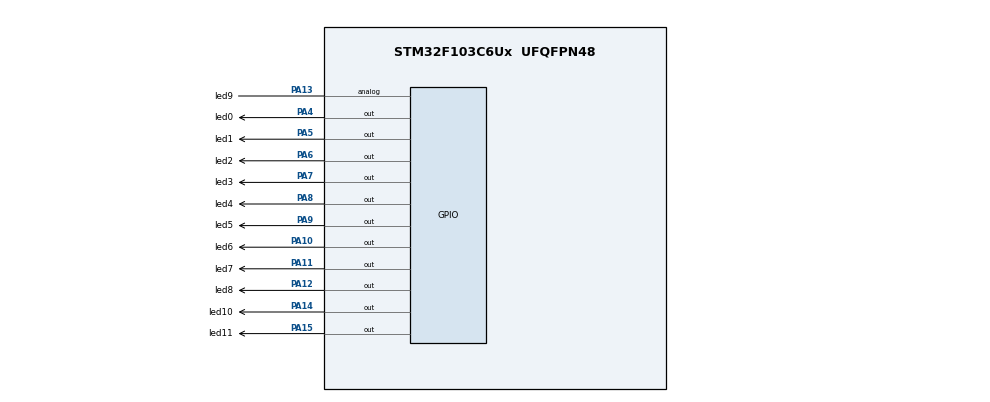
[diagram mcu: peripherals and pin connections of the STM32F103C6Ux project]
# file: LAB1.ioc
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Mcu.Family=STM32F1
Mcu.Name=STM32F103C6Ux
Mcu.Package=UFQFPN48
NVIC.PriorityGroup=NVIC_PRIORITYGROUP_4
PA10.GPIO_Label=led6
PA10.Signal=GPIO_Output
PA11.GPIO_Label=led7
PA11.Signal=GPIO_Output
PA12.GPIO_Label=led8
PA12.Signal=GPIO_Output
PA13.GPIO_Label=led9
PA13.Signal=GPIO_Analog
PA14.GPIO_Label=led10
PA14.Signal=GPIO_Output
PA15.GPIO_Label=led11
PA15.Signal=GPIO_Output
PA4.GPIO_Label=led0
PA4.Signal=GPIO_Output
PA5.GPIO_Label=led1
PA5.Signal=GPIO_Output
PA6.GPIO_Label=led2
PA6.Signal=GPIO_Output
PA7.GPIO_Label=led3
PA7.Signal=GPIO_Output
PA8.GPIO_Label=led4
PA8.Signal=GPIO_Output
PA9.GPIO_Label=led5
PA9.Signal=GPIO_Output
ProjectManager.HeapSize=0x200
ProjectManager.StackSize=0x400
ProjectManager.TargetToolchain=STM32CubeIDE
RCC.APB1Freq_Value=8000000
RCC.APB2Freq_Value=8000000
VP_SYS_VS_ND.Mode=No_Debug
board=custom

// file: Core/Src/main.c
/* USER CODE BEGIN Header */
/**
  ******************************************************************************
  * @file           : main.c
  * @brief          : Main program body
  ******************************************************************************
  * @attention
  *
  * <h2><center>&copy; Copyright (c) 2024 STMicroelectronics.
  * All rights reserved.</center></h2>
  *
  * This software component is licensed by ST under BSD 3-Clause license,
  * the "License"; You may not use this file except in compliance with the
  * License. You may obtain a copy of the License at:
  *                        opensource.org/licenses/BSD-3-Clause
  *
  ******************************************************************************
  */
/* USER CODE END Header */
#include "main.h"

void SystemClock_Config(void);
static void MX_GPIO_Init(void);

/* USER CODE BEGIN 0 */
void clearAllClock();
void setNumberOnClock(int num);
void clearNumberOnClock(int num);

void clearAllClock()
{
	HAL_GPIO_WritePin(GPIOA, led0_Pin, GPIO_PIN_RESET);
	HAL_GPIO_WritePin(GPIOA, led1_Pin, GPIO_PIN_RESET);
	HAL_GPIO_WritePin(GPIOA, led2_Pin, GPIO_PIN_RESET);
	HAL_GPIO_WritePin(GPIOA, led3_Pin, GPIO_PIN_RESET);
	HAL_GPIO_WritePin(GPIOA, led4_Pin, GPIO_PIN_RESET);
	HAL_GPIO_WritePin(GPIOA, led5_Pin, GPIO_PIN_RESET);
	HAL_GPIO_WritePin(GPIOA, led6_Pin, GPIO_PIN_RESET);
	HAL_GPIO_WritePin(GPIOA, led7_Pin, GPIO_PIN_RESET);
	HAL_GPIO_WritePin(GPIOA, led8_Pin, GPIO_PIN_RESET);
	HAL_GPIO_WritePin(GPIOA, led9_Pin, GPIO_PIN_RESET);
	HAL_GPIO_WritePin(GPIOA, led10_Pin, GPIO_PIN_RESET);
	HAL_GPIO_WritePin(GPIOA, led11_Pin, GPIO_PIN_RESET);
}

void setNumberOnClock(int num)
{
	if(num == 0) HAL_GPIO_WritePin(led0_GPIO_Port, led0_Pin, GPIO_PIN_SET);
	if(num == 1) HAL_GPIO_WritePin(led1_GPIO_Port, led1_Pin, GPIO_PIN_SET);
	if(num == 2) HAL_GPIO_WritePin(led2_GPIO_Port, led2_Pin, GPIO_PIN_SET);
	if(num == 3) HAL_GPIO_WritePin(led3_GPIO_Port, led3_Pin, GPIO_PIN_SET);
	if(num == 4) HAL_GPIO_WritePin(led4_GPIO_Port, led4_Pin, GPIO_PIN_SET);
	if(num == 5) HAL_GPIO_WritePin(led5_GPIO_Port, led5_Pin, GPIO_PIN_SET);
	if(num == 6) HAL_GPIO_WritePin(led6_GPIO_Port, led6_Pin, GPIO_PIN_SET);
	if(num == 7) HAL_GPIO_WritePin(led7_GPIO_Port, led7_Pin, GPIO_PIN_SET);
	if(num == 8) HAL_GPIO_WritePin(led8_GPIO_Port, led8_Pin, GPIO_PIN_SET);
	if(num == 9) HAL_GPIO_WritePin(led9_GPIO_Port, led9_Pin, GPIO_PIN_SET);
	if(num == 10) HAL_GPIO_WritePin(led10_GPIO_Port, led10_Pin, GPIO_PIN_SET);
	if(num == 11) HAL_GPIO_WritePin(led11_GPIO_Port, led11_Pin, GPIO_PIN_SET);
}

void clearNumberOnClock(int num)
{
	if(num == 0) HAL_GPIO_WritePin(led0_GPIO_Port, led0_Pin, GPIO_PIN_RESET);
	if(num == 1) HAL_GPIO_WritePin(led1_GPIO_Port, led1_Pin, GPIO_PIN_RESET);
	if(num == 2) HAL_GPIO_WritePin(led2_GPIO_Port, led2_Pin, GPIO_PIN_RESET);
	if(num == 3) HAL_GPIO_WritePin(led3_GPIO_Port, led3_Pin, GPIO_PIN_RESET);
	if(num == 4) HAL_GPIO_WritePin(led4_GPIO_Port, led4_Pin, GPIO_PIN_RESET);
	if(num == 5) HAL_GPIO_WritePin(led5_GPIO_Port, led5_Pin, GPIO_PIN_RESET);
	if(num == 6) HAL_GPIO_WritePin(led6_GPIO_Port, led6_Pin, GPIO_PIN_RESET);
	if(num == 7) HAL_GPIO_WritePin(led7_GPIO_Port, led7_Pin, GPIO_PIN_RESET);
	if(num == 8) HAL_GPIO_WritePin(led8_GPIO_Port, led8_Pin, GPIO_PIN_RESET);
	if(num == 9) HAL_GPIO_WritePin(led9_GPIO_Port, led9_Pin, GPIO_PIN_RESET);
	if(num == 10) HAL_GPIO_WritePin(led10_GPIO_Port, led10_Pin, GPIO_PIN_RESET);
	if(num == 11) HAL_GPIO_WritePin(led11_GPIO_Port, led11_Pin, GPIO_PIN_RESET);
}
/* USER CODE END 0 */

int main(void)
{

  /* MCU Configuration--------------------------------------------------------*/

  /* Reset of all peripherals, Initializes the Flash interface and the Systick. */
  HAL_Init();

  /* Configure the system clock */
  SystemClock_Config();

  /* Initialize all configured peripherals */
  MX_GPIO_Init();

  /* Infinite loop */
  /* USER CODE BEGIN WHILE */
   int count_second = 0;
   int count_minute = 0;
   int count_hour = 0;
  while (1)
  {
    /* USER CODE END WHILE */

    /* USER CODE BEGIN 3 */
	  if(count_second == 60)
	  	  {
	  		  if((count_second/5 - 1) != (count_minute/5) && (count_second/5 - 1) != count_hour)
	  		  {
	  			  clearNumberOnClock(count_second/5 - 1);
	  		  }
	  		  count_minute ++;
	  		  count_second = 0;
	  	  }
	  	  if((count_second/5 - 1) != (count_minute/5) && (count_second/5 - 1) != count_hour)
	  	  {
	  		  clearNumberOnClock(count_second/5 - 1);
	  	  }
	  	  setNumberOnClock(count_second/5);
	  	  count_second ++;
	  	  if(count_minute == 60)
	  	  {
	  		  if((count_minute/5 -1) != (count_second/5) && (count_minute/5 -1) != count_hour)
	  		  {
	  			  clearNumberOnClock(count_minute/5 -1);
	  		  }
	  		  count_hour ++;
	  		  count_minute = 0;
	  	  }
	  	  if((count_minute/5 -1) != (count_second/5) && (count_minute/5 -1) != count_hour)
	  	  {
	  		  clearNumberOnClock(count_minute/5 -1);
	  	  }
	  	  setNumberOnClock(count_minute/5);
	  	  if(count_hour == 12)
	  	  {
	  		  if((count_hour -1) != (count_minute/5) && (count_hour -1) != (count_second/5))
	  		  {
	  			  clearNumberOnClock(count_hour -1);
	  		  }
	  		  count_hour = 0;
	  	  }
	  	  if((count_hour -1) != (count_minute/5) && (count_hour -1) != (count_second/5))
	  	  {
	  		  clearNumberOnClock(count_hour -1);
	  	  }
	  	  setNumberOnClock(count_hour);
	  	  HAL_Delay(50);
  }
  /* USER CODE END 3 */
}

void SystemClock_Config(void)
{
  RCC_OscInitTypeDef RCC_OscInitStruct = {0};
  RCC_ClkInitTypeDef RCC_ClkInitStruct = {0};

  /** Initializes the RCC Oscillators according to the specified parameters
  * in the RCC_OscInitTypeDef structure.
  */
  RCC_OscInitStruct.OscillatorType = RCC_OSCILLATORTYPE_HSI;
  RCC_OscInitStruct.HSIState = RCC_HSI_ON;
  RCC_OscInitStruct.HSICalibrationValue = RCC_HSICALIBRATION_DEFAULT;
  RCC_OscInitStruct.PLL.PLLState = RCC_PLL_NONE;
  if (HAL_RCC_OscConfig(&RCC_OscInitStruct) != HAL_OK)
  {
    Error_Handler();
  }
  /** Initializes the CPU, AHB and APB buses clocks
  */
  RCC_ClkInitStruct.ClockType = RCC_CLOCKTYPE_HCLK|RCC_CLOCKTYPE_SYSCLK
                              |RCC_CLOCKTYPE_PCLK1|RCC_CLOCKTYPE_PCLK2;
  RCC_ClkInitStruct.SYSCLKSource = RCC_SYSCLKSOURCE_HSI;
  RCC_ClkInitStruct.AHBCLKDivider = RCC_SYSCLK_DIV1;
  RCC_ClkInitStruct.APB1CLKDivider = RCC_HCLK_DIV1;
  RCC_ClkInitStruct.APB2CLKDivider = RCC_HCLK_DIV1;

  if (HAL_RCC_ClockConfig(&RCC_ClkInitStruct, FLASH_LATENCY_0) != HAL_OK)
  {
    Error_Handler();
  }
}

static void MX_GPIO_Init(void)
{
  GPIO_InitTypeDef GPIO_InitStruct = {0};

  /* GPIO Ports Clock Enable */
  __HAL_RCC_GPIOA_CLK_ENABLE();

  /*Configure GPIO pin Output Level */
  HAL_GPIO_WritePin(GPIOA, led0_Pin|led1_Pin|led2_Pin|led3_Pin
                          |led4_Pin|led5_Pin|led6_Pin|led7_Pin
                          |led8_Pin|led9_Pin|led10_Pin|led11_Pin, GPIO_PIN_RESET);

  /*Configure GPIO pins : led0_Pin led1_Pin led2_Pin led3_Pin
                           led4_Pin led5_Pin led6_Pin led7_Pin
                           led8_Pin led9_Pin led10_Pin led11_Pin */
  GPIO_InitStruct.Pin = led0_Pin|led1_Pin|led2_Pin|led3_Pin
                          |led4_Pin|led5_Pin|led6_Pin|led7_Pin
                          |led8_Pin|led9_Pin|led10_Pin|led11_Pin;
  GPIO_InitStruct.Mode = GPIO_MODE_OUTPUT_PP;
  GPIO_InitStruct.Pull = GPIO_NOPULL;
  GPIO_InitStruct.Speed = GPIO_SPEED_FREQ_LOW;
  HAL_GPIO_Init(GPIOA, &GPIO_InitStruct);

}

void Error_Handler(void)
{
  __disable_irq();
  while (1)
  {
  }
}

/************************ (C) COPYRIGHT STMicroelectronics *****END OF FILE****/
